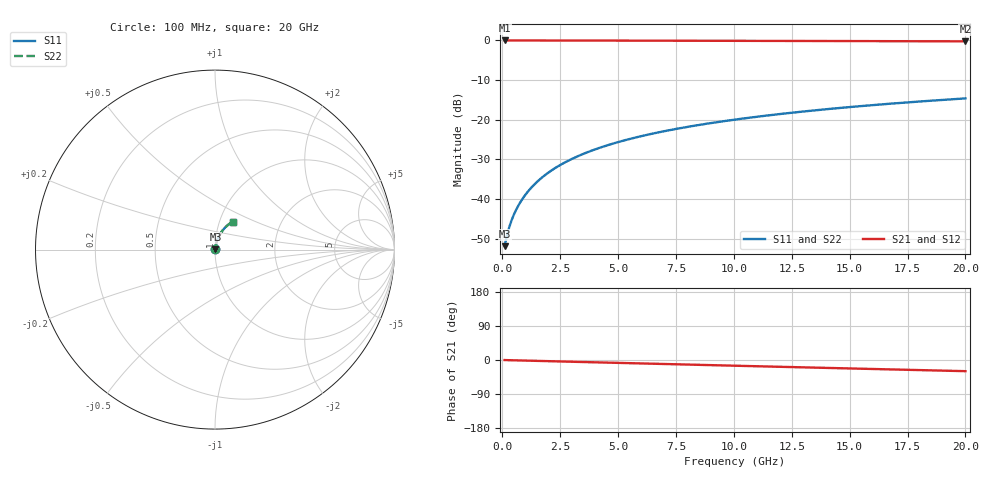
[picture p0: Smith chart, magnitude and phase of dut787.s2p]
! Touchstone file exported from HFSS 2026.1.0
!  File:  C:/ffzhzh/LocalFiles/Ansys_Project_Files/temp_train_TMRDL_787_1783155896_43440.aedt
!  Generated:  05:06:08 PM Jul  4, 2026
!  Design:  TMRDL
!  Project:  temp_train_TMRDL_787_1783155896_43440
! Variables:
!  h_bsmrdl = 2um
!  h_ox = 20um
!  h_rdl = 5um
!  h_sub = 80um
!  h_tmrdl = 4.06um
!  h_tsv = 80um
!  h_via = 3um
!  l_bsmrdl = 300um
!  l_sub = 875.51um
!  l_tmrdl = 475.51um
!  m_sub = 200um
!  pitch = 33.41um
!  r_tsv = 6um
!  s_tmrdl = 10um
!  w_bsmrdl = 18um
!  w_sub = 500um
!  w_tmrdl = 20.89um
!  x_tsv_center1 = 485.955um
!  x_tsv_center2 = 803.955um
!  x_tsv_center3 = 1300.355um
!  x_tsv_center4 = 1618.355um
!  x_tsv_center5 = 2114.755um
!  x_tsv_center6 = 2432.755um
# GHz S MA R 50.000000
! Terminal data exported
! Port[1] = TM_RDL1_1_T1
! Port[2] = TM_RDL1_1_T2
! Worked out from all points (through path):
!   200 points, 100 MHz to 20 GHz, reference 50 ohm
!   highest |S21| = -0.02 dB at 100 MHz (marker M1); lowest = -0.2 dB at 20 GHz (marker M2)
!   group delay of S21, straight-line fit = 4.08 ps
!   lowest |S11| = -51.9 dB at 100 MHz (marker M3), VSWR 1.01, Z = 50.2 + j0.13 ohm
!   |S11| at or under -10 dB: start of sweep to end of sweep
!   |S22| runs from -51.9 to -14.6 dB; largest |S21 - S12| = 2.1e-15
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0.1  0.002545 30.6  0.9978 -0.2  0.9978 -0.2  0.002545 30.6
! Gamma 0 0 0 0
! Port Impedance 50 0 50 0
0.2  0.003436 46.7  0.9977 -0.3  0.9977 -0.3  0.003435 46.7
0.3  0.004413 55.0  0.9975 -0.5  0.9975 -0.5  0.004411 54.9
0.4  0.005388 60.1  0.9974 -0.6  0.9974 -0.6  0.005386 60.1
0.5  0.006361 63.8  0.9973 -0.8  0.9973 -0.8  0.006358 63.8
0.6  0.007338 66.5  0.9972 -0.9  0.9972 -0.9  0.007335 66.5
0.8  0.009318 70.5  0.9971 -1.2  0.9971 -1.2  0.009316 70.5
1  0.01133 73.1  0.997 -1.6  0.997 -1.6  0.01133 73.1
1.2  0.01337 74.9  0.9969 -1.9  0.9969 -1.9  0.01337 74.9
1.4  0.01543 76.1  0.9968 -2.2  0.9968 -2.2  0.01543 76.1
1.7  0.01853 77.3  0.9966 -2.6  0.9966 -2.6  0.01853 77.3
2.2  0.02372 78.2  0.9963 -3.4  0.9963 -3.4  0.02372 78.2
2.8  0.02992 78.5  0.9958 -4.3  0.9958 -4.3  0.02992 78.5
3.5  0.0371 78.3  0.9952 -5.4  0.9952 -5.4  0.0371 78.3
4.2  0.0442 77.7  0.9945 -6.4  0.9945 -6.4  0.0442 77.7
5  0.0522 76.9  0.9937 -7.6  0.9937 -7.6  0.0522 76.9
6.8  0.06978 74.7  0.9915 -10.3  0.9915 -10.3  0.06978 74.7
8.3  0.08405 72.8  0.9896 -12.5  0.9896 -12.5  0.08404 72.8
10.1  0.1008 70.4  0.9872 -15.2  0.9872 -15.2  0.1008 70.5
13.4  0.1304 66.1  0.9826 -20.0  0.9826 -20.0  0.1304 66.1
16.7  0.1587 61.7  0.9775 -24.8  0.9775 -24.8  0.1587 61.7
20  0.1855 57.2  0.972 -29.5  0.972 -29.5  0.1855 57.3
